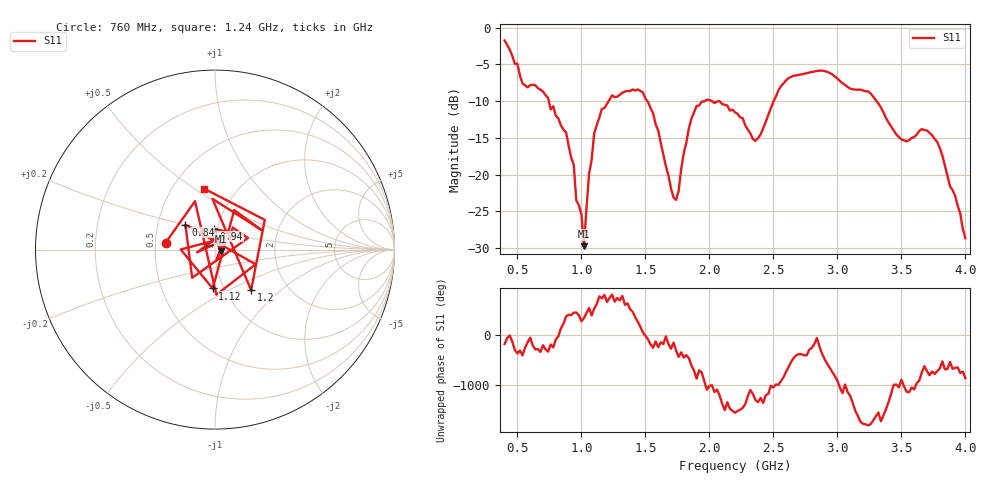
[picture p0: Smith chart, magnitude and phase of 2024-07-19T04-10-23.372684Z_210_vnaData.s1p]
!Created with skrf (http://scikit-rf.org).
# Hz S RI R 50.0
!freq ReS11 ImS11
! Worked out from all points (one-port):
!   181 points, 400 MHz to 4 GHz, reference 50 ohm
!   lowest |S11| = -29.7 dB at 1.02 GHz (marker M1), VSWR 1.07, Z = 53.2 - j0.897 ohm
!   |S11| at or under -10 dB: 745.2 MHz to 1.214 GHz (468.4 MHz wide, 47.8 % of centre); 2.02 GHz to 2.502 GHz (482.9 MHz wide, 21.4 % of centre); 3.305 GHz to end of sweep (the widest 3 of 4)
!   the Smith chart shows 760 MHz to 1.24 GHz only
!   S11 on the Smith chart (normalised r, x): 760 MHz: 0.57, +0.05; 840 MHz: 0.69, +0.20; 940 MHz: 0.96, +0.23; 1.12 GHz: 0.89, -0.40; 1.2 GHz: 1.32, -0.65; 1.24 GHz: 0.71, +0.55
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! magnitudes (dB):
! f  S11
! 400 MHz  -1.8
! 540 MHz  -7.6
! 760 MHz  -11.1
! 840 MHz  -13.3
! 860 MHz  -13.9
! 940 MHz  -18.6
! 960 MHz  -23.5
! 1 GHz  -25.4
! 1.02 GHz  -29.7
! 1.06 GHz  -19.9
! 1.12 GHz  -13.3
! 1.2 GHz  -10.4
! 1.24 GHz  -9.2
! 1.3 GHz  -9.1
! 1.48 GHz  -8.8
! 1.6 GHz  -14.0
! 1.72 GHz  -23.1
! 1.76 GHz  -22.2
! 1.84 GHz  -13.7
! 1.9 GHz  -10.7
! 2.2 GHz  -11.5
! 2.36 GHz  -15.4
! 2.66 GHz  -6.6
! 3.1 GHz  -8.3
! 3.26 GHz  -9.0
! 3.56 GHz  -15.3
! 3.78 GHz  -15.6
! 4 GHz  -28.7
